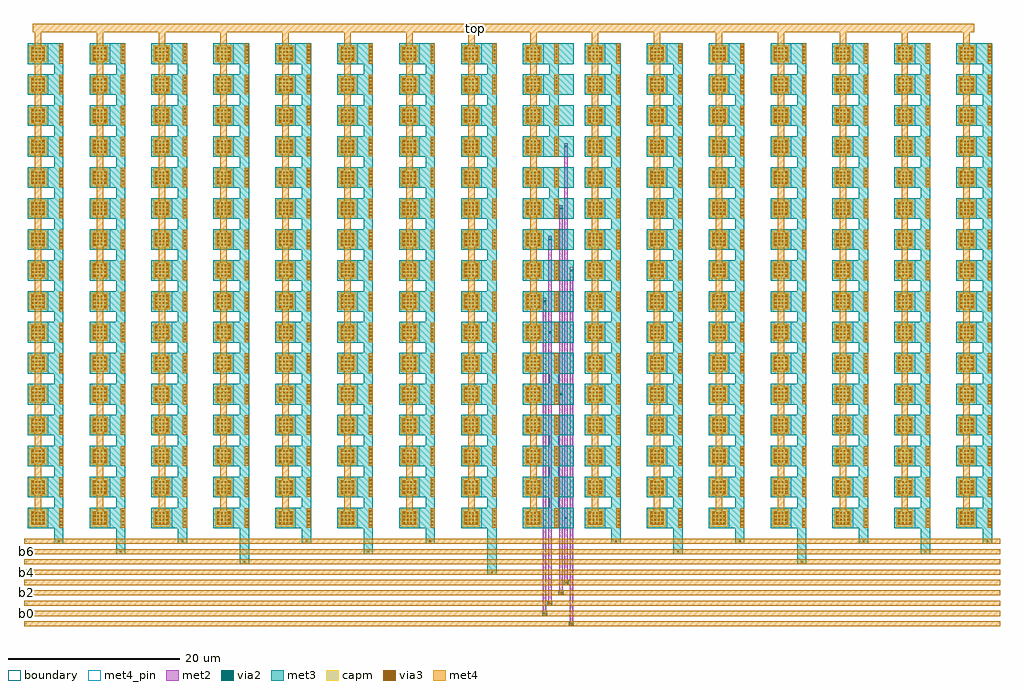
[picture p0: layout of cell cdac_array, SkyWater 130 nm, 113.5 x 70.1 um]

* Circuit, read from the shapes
.subckt cdac_array b0 b1 b2 b3 b4 b5 b6 b7 bd top
XC1 top b7 sky130_fd_pr__cap_mim_m3_1 w=2 l=2 m=128
XC2 top b6 sky130_fd_pr__cap_mim_m3_1 w=2 l=2 m=64
XC3 top b5 sky130_fd_pr__cap_mim_m3_1 w=2 l=2 m=32
XC4 top b4 sky130_fd_pr__cap_mim_m3_1 w=2 l=2 m=16
XC5 top b3 sky130_fd_pr__cap_mim_m3_1 w=2 l=2 m=8
XC6 top b2 sky130_fd_pr__cap_mim_m3_1 w=2 l=2 m=4
XC7 top b1 sky130_fd_pr__cap_mim_m3_1 w=2 l=2 m=2
XC8 top b0 sky130_fd_pr__cap_mim_m3_1 w=2 l=2
XC9 top bd sky130_fd_pr__cap_mim_m3_1 w=2 l=2
.ends

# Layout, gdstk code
import gdstk
lib = gdstk.Library(unit=1e-6, precision=1e-09)
def R(c, l, rs):  # rectangles x0, y0, x1, y1
    for r in rs: c.add(gdstk.rectangle(r[:2], r[2:], *l))
def A(c, l, x, y, w, h, nx, ny, dx, dy):  # array of equal rectangles
    R(c, l, [(x+i*dx, y+j*dy, x+i*dx+w, y+j*dy+h) for i in range(nx) for j in range(ny)])
met2 = (69, 20)
via2 = (69, 44)
met3 = (70, 20)
via3 = (70, 44)
met4_pin = (71, 16)
met4 = (71, 20)
capm = (89, 44)
boundary = (235, 4)

sky130_fd_pr__cap_mim_m3 = lib.new_cell('sky130_fd_pr__cap_mim_m3_1_4V3HYR')
R(sky130_fd_pr__cap_mim_m3, met3, [(-2.08,-1.2,2.08,1.2)])
A(sky130_fd_pr__cap_mim_m3, via3, 1.72, -0.9, 0.2, 0.2, 1, 5, 0, 0.4)
A(sky130_fd_pr__cap_mim_m3, via3, -1.58, -0.7, 0.2, 0.2, 4, 4, 0.4, 0.4)
R(sky130_fd_pr__cap_mim_m3, met4, [(1.58,-1.14,2.06,1.14), (-1.685,-0.805,-0.075,0.805)])
R(sky130_fd_pr__cap_mim_m3, capm, [(-1.88,-1,0.12,1)])
R(sky130_fd_pr__cap_mim_m3, boundary, [(-2.08,-1.2,0.32,1.2)])
sky130_fd_pr__cap_mim_m3.add(gdstk.Label('C2', (1.82,0), layer=71, texttype=5))
sky130_fd_pr__cap_mim_m3.add(gdstk.Label('C1', (-0.88,0), layer=71, texttype=5))

cdac_array = lib.new_cell('cdac_array')
R(cdac_array, met2, [(60.95,-12.6,61.35,29.2), (57.85,-11.4,58.25,25.6), (58.45,-10.2,58.85,32.8), (59.75,-9,60.15,36.4), (60.35,-7.8,60.75,43.6)])
R(cdac_array, via2, [(61.05,-12.4,61.25,-12.2), (57.95,-11.2,58.15,-11), (58.55,-10,58.75,-9.8), (59.85,-8.8,60.05,-8.6), (60.45,-7.6,60.65,-7.4), (60.45,-0.1,60.65,0.1), (59.85,14.3,60.05,14.5), (58.55,21.5,58.75,21.7), (57.95,25.1,58.15,25.3), (61.05,28.7,61.25,28.9), (58.55,32.3,58.75,32.5), (59.85,35.9,60.05,36.1), (60.45,43.1,60.65,43.3)])
A(cdac_array, met3, 1, -3, 1.08, 58.2, 4, 1, 14.4, 0)
A(cdac_array, met3, 65.8, -3, 1.08, 58.2, 4, 1, 14.4, 0)
A(cdac_array, met3, 58.6, -1.2, 2.85, 2.4, 1, 6, 0, 3.6)
A(cdac_array, met3, 58.6, 1.2, 1.08, 1.2, 1, 3, 0, 3.6)
A(cdac_array, met3, 59.6, 20.4, 1.85, 2.4, 1, 4, 0, 3.6)
A(cdac_array, met3, 58.6, 34.8, 2.85, 2.4, 1, 6, 0, 3.6)
A(cdac_array, met3, 58.6, 44.4, 1.08, 1.2, 1, 3, 0, 3.6)
R(cdac_array, met3, [(60.85,-12.6,61.45,-12), (57.75,-11.4,58.35,-10.8), (58.35,-10.2,58.95,-9.6), (59.65,-9,60.25,-8.4), (60.25,-7.8,60.85,-7.2), (51.4,-6.6,52.48,55.2), (22.6,-5.4,23.68,55.2), (87.4,-5.4,88.48,55.2), (8.2,-4.2,9.28,55.2), (37,-4.2,38.08,55.2), (73,-4.2,74.08,55.2), (101.8,-4.2,102.88,55.2), (58.6,15.6,59.68,16.8), (58.49,21.44,58.81,21.76), (57.89,25.04,58.21,25.36), (58.49,32.24,58.81,32.56), (58.6,37.2,59.68,38.4)])
A(cdac_array, via3, 1.44, -2.8, 0.2, 0.2, 4, 1, 14.4, 0)
A(cdac_array, via3, 66.24, -2.8, 0.2, 0.2, 4, 1, 14.4, 0)
R(cdac_array, via3, [(61.05,-12.4,61.25,-12.2), (57.95,-11.2,58.15,-11), (58.55,-10,58.75,-9.8), (59.85,-8.8,60.05,-8.6), (60.45,-7.6,60.65,-7.4), (51.84,-6.4,52.04,-6.2), (23.04,-5.2,23.24,-5), (87.84,-5.2,88.04,-5), (8.64,-4,8.84,-3.8), (37.44,-4,37.64,-3.8), (73.44,-4,73.64,-3.8), (102.24,-4,102.44,-3.8)])
A(cdac_array, met4_pin, -2.3, -12.35, 0.1, 0.1, 1, 9, 0, 1.2)
R(cdac_array, met4_pin, [(50,56.9,50.1,57)])
A(cdac_array, met4, -2.5, -12.6, 113.5, 0.6, 1, 9, 0, 1.2)
A(cdac_array, met4, -1.25, -0.805, 0.75, 57.305, 16, 1, 7.2, 0)
R(cdac_array, met4, [(-1.5,56.5,108,57.5)])
cdac_array.add(gdstk.Reference(sky130_fd_pr__cap_mim_m3, (108,54)))
cdac_array.add(gdstk.Reference(sky130_fd_pr__cap_mim_m3, (100.8,54)))
cdac_array.add(gdstk.Reference(sky130_fd_pr__cap_mim_m3, (93.6,54)))
cdac_array.add(gdstk.Reference(sky130_fd_pr__cap_mim_m3, (86.4,54)))
cdac_array.add(gdstk.Reference(sky130_fd_pr__cap_mim_m3, (79.2,54)))
cdac_array.add(gdstk.Reference(sky130_fd_pr__cap_mim_m3, (72,54)))
cdac_array.add(gdstk.Reference(sky130_fd_pr__cap_mim_m3, (64.8,54)))
cdac_array.add(gdstk.Reference(sky130_fd_pr__cap_mim_m3, (57.6,54)))
cdac_array.add(gdstk.Reference(sky130_fd_pr__cap_mim_m3, (50.4,54)))
cdac_array.add(gdstk.Reference(sky130_fd_pr__cap_mim_m3, (43.2,54)))
cdac_array.add(gdstk.Reference(sky130_fd_pr__cap_mim_m3, (36,54)))
cdac_array.add(gdstk.Reference(sky130_fd_pr__cap_mim_m3, (28.8,54)))
cdac_array.add(gdstk.Reference(sky130_fd_pr__cap_mim_m3, (21.6,54)))
cdac_array.add(gdstk.Reference(sky130_fd_pr__cap_mim_m3, (14.4,54)))
cdac_array.add(gdstk.Reference(sky130_fd_pr__cap_mim_m3, (7.2,54)))
cdac_array.add(gdstk.Reference(sky130_fd_pr__cap_mim_m3, (0,54)))
cdac_array.add(gdstk.Reference(sky130_fd_pr__cap_mim_m3, (108,50.4)))
cdac_array.add(gdstk.Reference(sky130_fd_pr__cap_mim_m3, (100.8,50.4)))
cdac_array.add(gdstk.Reference(sky130_fd_pr__cap_mim_m3, (93.6,50.4)))
cdac_array.add(gdstk.Reference(sky130_fd_pr__cap_mim_m3, (86.4,50.4)))
cdac_array.add(gdstk.Reference(sky130_fd_pr__cap_mim_m3, (79.2,50.4)))
cdac_array.add(gdstk.Reference(sky130_fd_pr__cap_mim_m3, (72,50.4)))
cdac_array.add(gdstk.Reference(sky130_fd_pr__cap_mim_m3, (64.8,50.4)))
cdac_array.add(gdstk.Reference(sky130_fd_pr__cap_mim_m3, (57.6,50.4)))
cdac_array.add(gdstk.Reference(sky130_fd_pr__cap_mim_m3, (50.4,50.4)))
cdac_array.add(gdstk.Reference(sky130_fd_pr__cap_mim_m3, (43.2,50.4)))
cdac_array.add(gdstk.Reference(sky130_fd_pr__cap_mim_m3, (36,50.4)))
cdac_array.add(gdstk.Reference(sky130_fd_pr__cap_mim_m3, (28.8,50.4)))
cdac_array.add(gdstk.Reference(sky130_fd_pr__cap_mim_m3, (21.6,50.4)))
cdac_array.add(gdstk.Reference(sky130_fd_pr__cap_mim_m3, (14.4,50.4)))
cdac_array.add(gdstk.Reference(sky130_fd_pr__cap_mim_m3, (7.2,50.4)))
cdac_array.add(gdstk.Reference(sky130_fd_pr__cap_mim_m3, (0,50.4)))
cdac_array.add(gdstk.Reference(sky130_fd_pr__cap_mim_m3, (108,46.8)))
cdac_array.add(gdstk.Reference(sky130_fd_pr__cap_mim_m3, (100.8,46.8)))
cdac_array.add(gdstk.Reference(sky130_fd_pr__cap_mim_m3, (93.6,46.8)))
cdac_array.add(gdstk.Reference(sky130_fd_pr__cap_mim_m3, (86.4,46.8)))
cdac_array.add(gdstk.Reference(sky130_fd_pr__cap_mim_m3, (79.2,46.8)))
cdac_array.add(gdstk.Reference(sky130_fd_pr__cap_mim_m3, (72,46.8)))
cdac_array.add(gdstk.Reference(sky130_fd_pr__cap_mim_m3, (64.8,46.8)))
cdac_array.add(gdstk.Reference(sky130_fd_pr__cap_mim_m3, (57.6,46.8)))
cdac_array.add(gdstk.Reference(sky130_fd_pr__cap_mim_m3, (50.4,46.8)))
cdac_array.add(gdstk.Reference(sky130_fd_pr__cap_mim_m3, (43.2,46.8)))
cdac_array.add(gdstk.Reference(sky130_fd_pr__cap_mim_m3, (36,46.8)))
cdac_array.add(gdstk.Reference(sky130_fd_pr__cap_mim_m3, (28.8,46.8)))
cdac_array.add(gdstk.Reference(sky130_fd_pr__cap_mim_m3, (21.6,46.8)))
cdac_array.add(gdstk.Reference(sky130_fd_pr__cap_mim_m3, (14.4,46.8)))
cdac_array.add(gdstk.Reference(sky130_fd_pr__cap_mim_m3, (7.2,46.8)))
cdac_array.add(gdstk.Reference(sky130_fd_pr__cap_mim_m3, (0,46.8)))
cdac_array.add(gdstk.Reference(sky130_fd_pr__cap_mim_m3, (108,43.2)))
cdac_array.add(gdstk.Reference(sky130_fd_pr__cap_mim_m3, (100.8,43.2)))
cdac_array.add(gdstk.Reference(sky130_fd_pr__cap_mim_m3, (93.6,43.2)))
cdac_array.add(gdstk.Reference(sky130_fd_pr__cap_mim_m3, (86.4,43.2)))
cdac_array.add(gdstk.Reference(sky130_fd_pr__cap_mim_m3, (79.2,43.2)))
cdac_array.add(gdstk.Reference(sky130_fd_pr__cap_mim_m3, (72,43.2)))
cdac_array.add(gdstk.Reference(sky130_fd_pr__cap_mim_m3, (64.8,43.2)))
cdac_array.add(gdstk.Reference(sky130_fd_pr__cap_mim_m3, (57.6,43.2)))
cdac_array.add(gdstk.Reference(sky130_fd_pr__cap_mim_m3, (50.4,43.2)))
cdac_array.add(gdstk.Reference(sky130_fd_pr__cap_mim_m3, (43.2,43.2)))
cdac_array.add(gdstk.Reference(sky130_fd_pr__cap_mim_m3, (36,43.2)))
cdac_array.add(gdstk.Reference(sky130_fd_pr__cap_mim_m3, (28.8,43.2)))
cdac_array.add(gdstk.Reference(sky130_fd_pr__cap_mim_m3, (21.6,43.2)))
cdac_array.add(gdstk.Reference(sky130_fd_pr__cap_mim_m3, (14.4,43.2)))
cdac_array.add(gdstk.Reference(sky130_fd_pr__cap_mim_m3, (7.2,43.2)))
cdac_array.add(gdstk.Reference(sky130_fd_pr__cap_mim_m3, (0,43.2)))
cdac_array.add(gdstk.Reference(sky130_fd_pr__cap_mim_m3, (108,39.6)))
cdac_array.add(gdstk.Reference(sky130_fd_pr__cap_mim_m3, (100.8,39.6)))
cdac_array.add(gdstk.Reference(sky130_fd_pr__cap_mim_m3, (93.6,39.6)))
cdac_array.add(gdstk.Reference(sky130_fd_pr__cap_mim_m3, (86.4,39.6)))
cdac_array.add(gdstk.Reference(sky130_fd_pr__cap_mim_m3, (79.2,39.6)))
cdac_array.add(gdstk.Reference(sky130_fd_pr__cap_mim_m3, (72,39.6)))
cdac_array.add(gdstk.Reference(sky130_fd_pr__cap_mim_m3, (64.8,39.6)))
cdac_array.add(gdstk.Reference(sky130_fd_pr__cap_mim_m3, (57.6,39.6)))
cdac_array.add(gdstk.Reference(sky130_fd_pr__cap_mim_m3, (50.4,39.6)))
cdac_array.add(gdstk.Reference(sky130_fd_pr__cap_mim_m3, (43.2,39.6)))
cdac_array.add(gdstk.Reference(sky130_fd_pr__cap_mim_m3, (36,39.6)))
cdac_array.add(gdstk.Reference(sky130_fd_pr__cap_mim_m3, (28.8,39.6)))
cdac_array.add(gdstk.Reference(sky130_fd_pr__cap_mim_m3, (21.6,39.6)))
cdac_array.add(gdstk.Reference(sky130_fd_pr__cap_mim_m3, (14.4,39.6)))
cdac_array.add(gdstk.Reference(sky130_fd_pr__cap_mim_m3, (7.2,39.6)))
cdac_array.add(gdstk.Reference(sky130_fd_pr__cap_mim_m3, (0,39.6)))
cdac_array.add(gdstk.Reference(sky130_fd_pr__cap_mim_m3, (108,36)))
cdac_array.add(gdstk.Reference(sky130_fd_pr__cap_mim_m3, (100.8,36)))
cdac_array.add(gdstk.Reference(sky130_fd_pr__cap_mim_m3, (93.6,36)))
cdac_array.add(gdstk.Reference(sky130_fd_pr__cap_mim_m3, (86.4,36)))
cdac_array.add(gdstk.Reference(sky130_fd_pr__cap_mim_m3, (79.2,36)))
cdac_array.add(gdstk.Reference(sky130_fd_pr__cap_mim_m3, (72,36)))
cdac_array.add(gdstk.Reference(sky130_fd_pr__cap_mim_m3, (64.8,36)))
cdac_array.add(gdstk.Reference(sky130_fd_pr__cap_mim_m3, (57.6,36)))
cdac_array.add(gdstk.Reference(sky130_fd_pr__cap_mim_m3, (50.4,36)))
cdac_array.add(gdstk.Reference(sky130_fd_pr__cap_mim_m3, (43.2,36)))
cdac_array.add(gdstk.Reference(sky130_fd_pr__cap_mim_m3, (36,36)))
cdac_array.add(gdstk.Reference(sky130_fd_pr__cap_mim_m3, (28.8,36)))
cdac_array.add(gdstk.Reference(sky130_fd_pr__cap_mim_m3, (21.6,36)))
cdac_array.add(gdstk.Reference(sky130_fd_pr__cap_mim_m3, (14.4,36)))
cdac_array.add(gdstk.Reference(sky130_fd_pr__cap_mim_m3, (7.2,36)))
cdac_array.add(gdstk.Reference(sky130_fd_pr__cap_mim_m3, (0,36)))
cdac_array.add(gdstk.Reference(sky130_fd_pr__cap_mim_m3, (108,32.4)))
cdac_array.add(gdstk.Reference(sky130_fd_pr__cap_mim_m3, (100.8,32.4)))
cdac_array.add(gdstk.Reference(sky130_fd_pr__cap_mim_m3, (93.6,32.4)))
cdac_array.add(gdstk.Reference(sky130_fd_pr__cap_mim_m3, (86.4,32.4)))
cdac_array.add(gdstk.Reference(sky130_fd_pr__cap_mim_m3, (79.2,32.4)))
cdac_array.add(gdstk.Reference(sky130_fd_pr__cap_mim_m3, (72,32.4)))
cdac_array.add(gdstk.Reference(sky130_fd_pr__cap_mim_m3, (64.8,32.4)))
cdac_array.add(gdstk.Reference(sky130_fd_pr__cap_mim_m3, (57.6,32.4)))
cdac_array.add(gdstk.Reference(sky130_fd_pr__cap_mim_m3, (50.4,32.4)))
cdac_array.add(gdstk.Reference(sky130_fd_pr__cap_mim_m3, (43.2,32.4)))
cdac_array.add(gdstk.Reference(sky130_fd_pr__cap_mim_m3, (36,32.4)))
cdac_array.add(gdstk.Reference(sky130_fd_pr__cap_mim_m3, (28.8,32.4)))
cdac_array.add(gdstk.Reference(sky130_fd_pr__cap_mim_m3, (21.6,32.4)))
cdac_array.add(gdstk.Reference(sky130_fd_pr__cap_mim_m3, (14.4,32.4)))
cdac_array.add(gdstk.Reference(sky130_fd_pr__cap_mim_m3, (7.2,32.4)))
cdac_array.add(gdstk.Reference(sky130_fd_pr__cap_mim_m3, (0,32.4)))
cdac_array.add(gdstk.Reference(sky130_fd_pr__cap_mim_m3, (108,28.8)))
cdac_array.add(gdstk.Reference(sky130_fd_pr__cap_mim_m3, (100.8,28.8)))
cdac_array.add(gdstk.Reference(sky130_fd_pr__cap_mim_m3, (93.6,28.8)))
cdac_array.add(gdstk.Reference(sky130_fd_pr__cap_mim_m3, (86.4,28.8)))
cdac_array.add(gdstk.Reference(sky130_fd_pr__cap_mim_m3, (79.2,28.8)))
cdac_array.add(gdstk.Reference(sky130_fd_pr__cap_mim_m3, (72,28.8)))
cdac_array.add(gdstk.Reference(sky130_fd_pr__cap_mim_m3, (64.8,28.8)))
cdac_array.add(gdstk.Reference(sky130_fd_pr__cap_mim_m3, (57.6,28.8)))
cdac_array.add(gdstk.Reference(sky130_fd_pr__cap_mim_m3, (50.4,28.8)))
cdac_array.add(gdstk.Reference(sky130_fd_pr__cap_mim_m3, (43.2,28.8)))
cdac_array.add(gdstk.Reference(sky130_fd_pr__cap_mim_m3, (36,28.8)))
cdac_array.add(gdstk.Reference(sky130_fd_pr__cap_mim_m3, (28.8,28.8)))
cdac_array.add(gdstk.Reference(sky130_fd_pr__cap_mim_m3, (21.6,28.8)))
cdac_array.add(gdstk.Reference(sky130_fd_pr__cap_mim_m3, (14.4,28.8)))
cdac_array.add(gdstk.Reference(sky130_fd_pr__cap_mim_m3, (7.2,28.8)))
cdac_array.add(gdstk.Reference(sky130_fd_pr__cap_mim_m3, (0,28.8)))
cdac_array.add(gdstk.Reference(sky130_fd_pr__cap_mim_m3, (108,25.2)))
cdac_array.add(gdstk.Reference(sky130_fd_pr__cap_mim_m3, (100.8,25.2)))
cdac_array.add(gdstk.Reference(sky130_fd_pr__cap_mim_m3, (93.6,25.2)))
cdac_array.add(gdstk.Reference(sky130_fd_pr__cap_mim_m3, (86.4,25.2)))
cdac_array.add(gdstk.Reference(sky130_fd_pr__cap_mim_m3, (79.2,25.2)))
cdac_array.add(gdstk.Reference(sky130_fd_pr__cap_mim_m3, (72,25.2)))
cdac_array.add(gdstk.Reference(sky130_fd_pr__cap_mim_m3, (64.8,25.2)))
cdac_array.add(gdstk.Reference(sky130_fd_pr__cap_mim_m3, (57.6,25.2)))
cdac_array.add(gdstk.Reference(sky130_fd_pr__cap_mim_m3, (50.4,25.2)))
cdac_array.add(gdstk.Reference(sky130_fd_pr__cap_mim_m3, (43.2,25.2)))
cdac_array.add(gdstk.Reference(sky130_fd_pr__cap_mim_m3, (36,25.2)))
cdac_array.add(gdstk.Reference(sky130_fd_pr__cap_mim_m3, (28.8,25.2)))
cdac_array.add(gdstk.Reference(sky130_fd_pr__cap_mim_m3, (21.6,25.2)))
cdac_array.add(gdstk.Reference(sky130_fd_pr__cap_mim_m3, (14.4,25.2)))
cdac_array.add(gdstk.Reference(sky130_fd_pr__cap_mim_m3, (7.2,25.2)))
cdac_array.add(gdstk.Reference(sky130_fd_pr__cap_mim_m3, (0,25.2)))
cdac_array.add(gdstk.Reference(sky130_fd_pr__cap_mim_m3, (108,21.6)))
cdac_array.add(gdstk.Reference(sky130_fd_pr__cap_mim_m3, (100.8,21.6)))
cdac_array.add(gdstk.Reference(sky130_fd_pr__cap_mim_m3, (93.6,21.6)))
cdac_array.add(gdstk.Reference(sky130_fd_pr__cap_mim_m3, (86.4,21.6)))
cdac_array.add(gdstk.Reference(sky130_fd_pr__cap_mim_m3, (79.2,21.6)))
cdac_array.add(gdstk.Reference(sky130_fd_pr__cap_mim_m3, (72,21.6)))
cdac_array.add(gdstk.Reference(sky130_fd_pr__cap_mim_m3, (64.8,21.6)))
cdac_array.add(gdstk.Reference(sky130_fd_pr__cap_mim_m3, (57.6,21.6)))
cdac_array.add(gdstk.Reference(sky130_fd_pr__cap_mim_m3, (50.4,21.6)))
cdac_array.add(gdstk.Reference(sky130_fd_pr__cap_mim_m3, (43.2,21.6)))
cdac_array.add(gdstk.Reference(sky130_fd_pr__cap_mim_m3, (36,21.6)))
cdac_array.add(gdstk.Reference(sky130_fd_pr__cap_mim_m3, (28.8,21.6)))
cdac_array.add(gdstk.Reference(sky130_fd_pr__cap_mim_m3, (21.6,21.6)))
cdac_array.add(gdstk.Reference(sky130_fd_pr__cap_mim_m3, (14.4,21.6)))
cdac_array.add(gdstk.Reference(sky130_fd_pr__cap_mim_m3, (7.2,21.6)))
cdac_array.add(gdstk.Reference(sky130_fd_pr__cap_mim_m3, (0,21.6)))
cdac_array.add(gdstk.Reference(sky130_fd_pr__cap_mim_m3, (108,18)))
cdac_array.add(gdstk.Reference(sky130_fd_pr__cap_mim_m3, (100.8,18)))
cdac_array.add(gdstk.Reference(sky130_fd_pr__cap_mim_m3, (93.6,18)))
cdac_array.add(gdstk.Reference(sky130_fd_pr__cap_mim_m3, (86.4,18)))
cdac_array.add(gdstk.Reference(sky130_fd_pr__cap_mim_m3, (79.2,18)))
cdac_array.add(gdstk.Reference(sky130_fd_pr__cap_mim_m3, (72,18)))
cdac_array.add(gdstk.Reference(sky130_fd_pr__cap_mim_m3, (64.8,18)))
cdac_array.add(gdstk.Reference(sky130_fd_pr__cap_mim_m3, (57.6,18)))
cdac_array.add(gdstk.Reference(sky130_fd_pr__cap_mim_m3, (50.4,18)))
cdac_array.add(gdstk.Reference(sky130_fd_pr__cap_mim_m3, (43.2,18)))
cdac_array.add(gdstk.Reference(sky130_fd_pr__cap_mim_m3, (36,18)))
cdac_array.add(gdstk.Reference(sky130_fd_pr__cap_mim_m3, (28.8,18)))
cdac_array.add(gdstk.Reference(sky130_fd_pr__cap_mim_m3, (21.6,18)))
cdac_array.add(gdstk.Reference(sky130_fd_pr__cap_mim_m3, (14.4,18)))
cdac_array.add(gdstk.Reference(sky130_fd_pr__cap_mim_m3, (7.2,18)))
cdac_array.add(gdstk.Reference(sky130_fd_pr__cap_mim_m3, (0,18)))
cdac_array.add(gdstk.Reference(sky130_fd_pr__cap_mim_m3, (108,14.4)))
cdac_array.add(gdstk.Reference(sky130_fd_pr__cap_mim_m3, (100.8,14.4)))
cdac_array.add(gdstk.Reference(sky130_fd_pr__cap_mim_m3, (93.6,14.4)))
cdac_array.add(gdstk.Reference(sky130_fd_pr__cap_mim_m3, (86.4,14.4)))
cdac_array.add(gdstk.Reference(sky130_fd_pr__cap_mim_m3, (79.2,14.4)))
cdac_array.add(gdstk.Reference(sky130_fd_pr__cap_mim_m3, (72,14.4)))
cdac_array.add(gdstk.Reference(sky130_fd_pr__cap_mim_m3, (64.8,14.4)))
cdac_array.add(gdstk.Reference(sky130_fd_pr__cap_mim_m3, (57.6,14.4)))
cdac_array.add(gdstk.Reference(sky130_fd_pr__cap_mim_m3, (50.4,14.4)))
cdac_array.add(gdstk.Reference(sky130_fd_pr__cap_mim_m3, (43.2,14.4)))
cdac_array.add(gdstk.Reference(sky130_fd_pr__cap_mim_m3, (36,14.4)))
cdac_array.add(gdstk.Reference(sky130_fd_pr__cap_mim_m3, (28.8,14.4)))
cdac_array.add(gdstk.Reference(sky130_fd_pr__cap_mim_m3, (21.6,14.4)))
cdac_array.add(gdstk.Reference(sky130_fd_pr__cap_mim_m3, (14.4,14.4)))
cdac_array.add(gdstk.Reference(sky130_fd_pr__cap_mim_m3, (7.2,14.4)))
cdac_array.add(gdstk.Reference(sky130_fd_pr__cap_mim_m3, (0,14.4)))
cdac_array.add(gdstk.Reference(sky130_fd_pr__cap_mim_m3, (108,10.8)))
cdac_array.add(gdstk.Reference(sky130_fd_pr__cap_mim_m3, (100.8,10.8)))
cdac_array.add(gdstk.Reference(sky130_fd_pr__cap_mim_m3, (93.6,10.8)))
cdac_array.add(gdstk.Reference(sky130_fd_pr__cap_mim_m3, (86.4,10.8)))
cdac_array.add(gdstk.Reference(sky130_fd_pr__cap_mim_m3, (79.2,10.8)))
cdac_array.add(gdstk.Reference(sky130_fd_pr__cap_mim_m3, (72,10.8)))
cdac_array.add(gdstk.Reference(sky130_fd_pr__cap_mim_m3, (64.8,10.8)))
cdac_array.add(gdstk.Reference(sky130_fd_pr__cap_mim_m3, (57.6,10.8)))
cdac_array.add(gdstk.Reference(sky130_fd_pr__cap_mim_m3, (50.4,10.8)))
cdac_array.add(gdstk.Reference(sky130_fd_pr__cap_mim_m3, (43.2,10.8)))
cdac_array.add(gdstk.Reference(sky130_fd_pr__cap_mim_m3, (36,10.8)))
cdac_array.add(gdstk.Reference(sky130_fd_pr__cap_mim_m3, (28.8,10.8)))
cdac_array.add(gdstk.Reference(sky130_fd_pr__cap_mim_m3, (21.6,10.8)))
cdac_array.add(gdstk.Reference(sky130_fd_pr__cap_mim_m3, (14.4,10.8)))
cdac_array.add(gdstk.Reference(sky130_fd_pr__cap_mim_m3, (7.2,10.8)))
cdac_array.add(gdstk.Reference(sky130_fd_pr__cap_mim_m3, (0,10.8)))
cdac_array.add(gdstk.Reference(sky130_fd_pr__cap_mim_m3, (108,7.2)))
cdac_array.add(gdstk.Reference(sky130_fd_pr__cap_mim_m3, (100.8,7.2)))
cdac_array.add(gdstk.Reference(sky130_fd_pr__cap_mim_m3, (93.6,7.2)))
cdac_array.add(gdstk.Reference(sky130_fd_pr__cap_mim_m3, (86.4,7.2)))
cdac_array.add(gdstk.Reference(sky130_fd_pr__cap_mim_m3, (79.2,7.2)))
cdac_array.add(gdstk.Reference(sky130_fd_pr__cap_mim_m3, (72,7.2)))
cdac_array.add(gdstk.Reference(sky130_fd_pr__cap_mim_m3, (64.8,7.2)))
cdac_array.add(gdstk.Reference(sky130_fd_pr__cap_mim_m3, (57.6,7.2)))
cdac_array.add(gdstk.Reference(sky130_fd_pr__cap_mim_m3, (50.4,7.2)))
cdac_array.add(gdstk.Reference(sky130_fd_pr__cap_mim_m3, (43.2,7.2)))
cdac_array.add(gdstk.Reference(sky130_fd_pr__cap_mim_m3, (36,7.2)))
cdac_array.add(gdstk.Reference(sky130_fd_pr__cap_mim_m3, (28.8,7.2)))
cdac_array.add(gdstk.Reference(sky130_fd_pr__cap_mim_m3, (21.6,7.2)))
cdac_array.add(gdstk.Reference(sky130_fd_pr__cap_mim_m3, (14.4,7.2)))
cdac_array.add(gdstk.Reference(sky130_fd_pr__cap_mim_m3, (7.2,7.2)))
cdac_array.add(gdstk.Reference(sky130_fd_pr__cap_mim_m3, (0,7.2)))
cdac_array.add(gdstk.Reference(sky130_fd_pr__cap_mim_m3, (108,3.6)))
cdac_array.add(gdstk.Reference(sky130_fd_pr__cap_mim_m3, (100.8,3.6)))
cdac_array.add(gdstk.Reference(sky130_fd_pr__cap_mim_m3, (93.6,3.6)))
cdac_array.add(gdstk.Reference(sky130_fd_pr__cap_mim_m3, (86.4,3.6)))
cdac_array.add(gdstk.Reference(sky130_fd_pr__cap_mim_m3, (79.2,3.6)))
cdac_array.add(gdstk.Reference(sky130_fd_pr__cap_mim_m3, (72,3.6)))
cdac_array.add(gdstk.Reference(sky130_fd_pr__cap_mim_m3, (64.8,3.6)))
cdac_array.add(gdstk.Reference(sky130_fd_pr__cap_mim_m3, (57.6,3.6)))
cdac_array.add(gdstk.Reference(sky130_fd_pr__cap_mim_m3, (50.4,3.6)))
cdac_array.add(gdstk.Reference(sky130_fd_pr__cap_mim_m3, (43.2,3.6)))
cdac_array.add(gdstk.Reference(sky130_fd_pr__cap_mim_m3, (36,3.6)))
cdac_array.add(gdstk.Reference(sky130_fd_pr__cap_mim_m3, (28.8,3.6)))
cdac_array.add(gdstk.Reference(sky130_fd_pr__cap_mim_m3, (21.6,3.6)))
cdac_array.add(gdstk.Reference(sky130_fd_pr__cap_mim_m3, (14.4,3.6)))
cdac_array.add(gdstk.Reference(sky130_fd_pr__cap_mim_m3, (7.2,3.6)))
cdac_array.add(gdstk.Reference(sky130_fd_pr__cap_mim_m3, (0,3.6)))
cdac_array.add(gdstk.Reference(sky130_fd_pr__cap_mim_m3, (108,0)))
cdac_array.add(gdstk.Reference(sky130_fd_pr__cap_mim_m3, (100.8,0)))
cdac_array.add(gdstk.Reference(sky130_fd_pr__cap_mim_m3, (93.6,0)))
cdac_array.add(gdstk.Reference(sky130_fd_pr__cap_mim_m3, (86.4,0)))
cdac_array.add(gdstk.Reference(sky130_fd_pr__cap_mim_m3, (79.2,0)))
cdac_array.add(gdstk.Reference(sky130_fd_pr__cap_mim_m3, (72,0)))
cdac_array.add(gdstk.Reference(sky130_fd_pr__cap_mim_m3, (64.8,0)))
cdac_array.add(gdstk.Reference(sky130_fd_pr__cap_mim_m3, (57.6,0)))
cdac_array.add(gdstk.Reference(sky130_fd_pr__cap_mim_m3, (50.4,0)))
cdac_array.add(gdstk.Reference(sky130_fd_pr__cap_mim_m3, (43.2,0)))
cdac_array.add(gdstk.Reference(sky130_fd_pr__cap_mim_m3, (36,0)))
cdac_array.add(gdstk.Reference(sky130_fd_pr__cap_mim_m3, (28.8,0)))
cdac_array.add(gdstk.Reference(sky130_fd_pr__cap_mim_m3, (21.6,0)))
cdac_array.add(gdstk.Reference(sky130_fd_pr__cap_mim_m3, (14.4,0)))
cdac_array.add(gdstk.Reference(sky130_fd_pr__cap_mim_m3, (7.2,0)))
cdac_array.add(gdstk.Reference(sky130_fd_pr__cap_mim_m3, (0,0)))
cdac_array.add(gdstk.Label('top', (50.05,56.95), layer=71, texttype=5))
cdac_array.add(gdstk.Label('b0', (-2.25,-11.1), layer=71, texttype=5))
cdac_array.add(gdstk.Label('b1', (-2.25,-9.9), layer=71, texttype=5))
cdac_array.add(gdstk.Label('b2', (-2.25,-8.7), layer=71, texttype=5))
cdac_array.add(gdstk.Label('b3', (-2.25,-7.5), layer=71, texttype=5))
cdac_array.add(gdstk.Label('b4', (-2.25,-6.3), layer=71, texttype=5))
cdac_array.add(gdstk.Label('b5', (-2.25,-5.1), layer=71, texttype=5))
cdac_array.add(gdstk.Label('b6', (-2.25,-3.9), layer=71, texttype=5))
cdac_array.add(gdstk.Label('b7', (-2.25,-2.7), layer=71, texttype=5))
cdac_array.add(gdstk.Label('bd', (-2.25,-12.3), layer=71, texttype=5))

lib.write_gds('cdac_array.gds')
